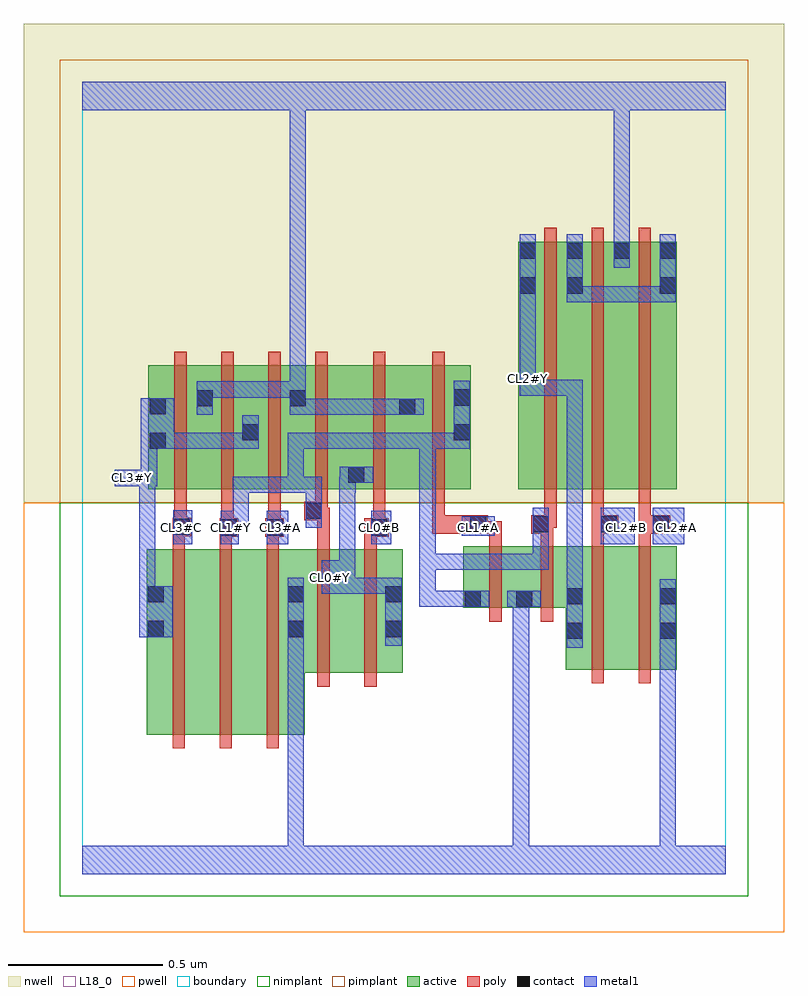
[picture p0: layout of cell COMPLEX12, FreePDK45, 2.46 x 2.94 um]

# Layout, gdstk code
import gdstk
lib = gdstk.Library(unit=1e-6, precision=1e-09)
def R(c, l, rs):  # rectangles x0, y0, x1, y1
    for r in rs: c.add(gdstk.rectangle(r[:2], r[2:], *l))
def A(c, l, x, y, w, h, nx, ny, dx, dy):  # array of equal rectangles
    R(c, l, [(x+i*dx, y+j*dy, x+i*dx+w, y+j*dy+h) for i in range(nx) for j in range(ny)])
active = (1, 0)
pwell = (2, 0)
nwell = (3, 0)
nimplant = (4, 0)
pimplant = (5, 0)
poly = (9, 0)
contact = (10, 0)
metal1 = (11, 0)
L18_0 = (18, 0)
boundary = (235, 0)

complex12 = lib.new_cell('COMPLEX12')
R(complex12, active, [(0.208,0.45,0.388,1.05), (0.388,0.45,0.54,1.05), (0.54,0.45,0.72,1.05), (0.208,0.556,0.268,1.05), (0.66,0.65,0.856,1.05), (0.856,0.65,1.036,1.05), (1.562,0.66,1.742,1.06), (1.562,0.66,1.622,0.928), (1.742,0.66,1.922,1.06), (0.66,0.756,0.72,1.05), (0.976,0.756,1.036,1.05), (1.862,0.756,1.922,1.06), (1.232,0.86,1.292,1.06), (1.232,0.86,1.458,1.06), (1.398,0.86,1.622,1.06), (1.398,0.86,1.458,1.06), (0.214,1.244,0.274,1.644), (0.214,1.244,0.426,1.644), (0.366,1.244,0.426,1.644), (0.366,1.244,0.574,1.644), (0.514,1.244,0.574,1.644), (0.514,1.244,0.726,1.644), (0.666,1.244,0.726,1.644), (0.666,1.244,0.916,1.644), (0.856,1.244,0.916,1.644), (0.856,1.244,1.08,1.644), (1.02,1.244,1.08,1.644), (1.02,1.244,1.256,1.644), (1.196,1.244,1.256,1.644), (1.41,1.244,1.47,2.044), (1.41,1.244,1.622,2.044), (1.562,1.244,1.774,2.044), (1.714,1.244,1.922,2.044), (1.862,1.244,1.922,2.044), (1.562,1.686,1.622,2.044), (1.714,1.686,1.774,2.044)])
R(complex12, pwell, [(-0.188,-0.188,2.268,1.2)])
R(complex12, nwell, [(-0.188,1.2,2.268,2.748)])
R(complex12, nimplant, [(-0.072,-0.072,2.152,1.2)])
R(complex12, pimplant, [(-0.072,1.2,2.152,2.632)])
A(complex12, poly, 0.292, 0.406, 0.04, 0.688, 3, 1, 0.152, 0)
A(complex12, poly, 1.494, 1.12, 0.04, 0.12, 3, 1, 0.152, 0)
A(complex12, poly, 0.298, 1.2, 0.04, 0.488, 4, 1, 0.152, 0)
A(complex12, poly, 1.494, 1.2, 0.04, 0.888, 3, 1, 0.152, 0)
R(complex12, poly, [(0.76,0.606,0.8,1.094), (0.912,0.606,0.952,1.094), (1.646,0.616,1.686,1.104), (1.798,0.616,1.838,1.104), (1.316,0.816,1.356,1.104), (1.482,0.816,1.522,1.104), (0.292,1.054,0.332,1.132), (0.444,1.054,0.484,1.13), (0.596,1.054,0.636,1.13), (0.76,1.054,0.8,1.184), (0.912,1.054,0.952,1.13), (1.316,1.064,1.356,1.14), (1.482,1.064,1.522,1.14), (1.646,1.064,1.686,1.14), (1.798,1.064,1.838,1.14), (0.444,1.09,0.484,1.13), (0.444,1.09,0.484,1.13), (0.444,1.09,0.504,1.15), (0.592,1.09,0.652,1.15), (0.912,1.09,0.99,1.15), (0.292,1.092,0.352,1.152), (1.132,1.1,1.31,1.16), (1.27,1.1,1.31,1.14), (1.27,1.1,1.356,1.14), (1.452,1.1,1.522,1.16), (1.646,1.1,1.686,1.14), (1.646,1.1,1.686,1.14), (1.646,1.1,1.732,1.16), (1.798,1.1,1.838,1.14), (1.798,1.1,1.838,1.14), (1.798,1.1,1.9,1.16), (0.45,1.11,0.49,1.24), (0.602,1.11,0.642,1.15), (0.602,1.11,0.642,1.15), (0.602,1.11,0.642,1.24), (0.94,1.11,0.98,1.15), (0.94,1.11,0.98,1.15), (0.94,1.11,0.98,1.24), (0.298,1.112,0.338,1.152), (0.298,1.112,0.338,1.152), (0.298,1.112,0.338,1.24), (1.132,1.12,1.172,1.24), (1.482,1.12,1.522,1.16), (1.482,1.12,1.534,1.16), (0.718,1.144,0.794,1.204), (0.754,1.144,0.794,1.184), (0.754,1.144,0.8,1.184), (0.754,1.164,0.794,1.24), (0.94,1.2,0.98,1.688), (1.132,1.2,1.172,1.688)])
A(complex12, contact, 1.414, 1.988, 0.052, 0.052, 3, 1, 0.152, 0)
R(complex12, contact, [(1.566,0.76,1.618,0.812), (1.866,0.76,1.918,0.812), (0.212,0.766,0.264,0.818), (0.664,0.766,0.716,0.818), (0.98,0.766,1.032,0.818), (1.236,0.864,1.288,0.916), (1.402,0.864,1.454,0.916), (1.566,0.872,1.618,0.924), (1.866,0.872,1.918,0.924), (0.212,0.878,0.264,0.93), (0.664,0.878,0.716,0.93), (0.98,0.878,1.032,0.93), (0.448,1.094,0.5,1.146), (0.596,1.094,0.648,1.146), (0.934,1.094,0.986,1.146), (0.296,1.096,0.348,1.148), (1.254,1.104,1.306,1.156), (1.456,1.104,1.508,1.156), (1.676,1.104,1.728,1.156), (1.844,1.104,1.896,1.156), (0.722,1.148,0.774,1.2), (0.86,1.264,0.912,1.316), (0.218,1.374,0.27,1.426), (0.518,1.402,0.57,1.454), (1.2,1.402,1.252,1.454), (1.024,1.484,1.076,1.536), (0.218,1.486,0.27,1.538), (0.37,1.512,0.422,1.564), (0.67,1.512,0.722,1.564), (1.2,1.514,1.252,1.566), (1.414,1.876,1.466,1.928), (1.566,1.876,1.618,1.928), (1.866,1.876,1.918,1.928), (1.866,1.988,1.918,2.04)])
R(complex12, metal1, [(0,0,2.08,0.092), (0.664,0.04,0.716,0.092), (0.664,0.04,0.716,0.092), (0.664,0.04,0.716,0.092), (0.664,0.04,0.716,0.092), (0.664,0.04,0.716,0.79), (1.392,0.04,1.444,0.092), (1.392,0.04,1.444,0.092), (1.392,0.04,1.444,0.092), (1.392,0.04,1.444,0.092), (1.392,0.04,1.444,0.092), (1.392,0.04,1.444,0.092), (1.392,0.04,1.444,0.092), (1.392,0.04,1.444,0.092), (1.392,0.04,1.444,0.092), (1.392,0.04,1.444,0.092), (1.392,0.04,1.444,0.092), (1.392,0.04,1.444,0.092), (1.392,0.04,1.444,0.916), (1.866,0.04,1.918,0.092), (1.866,0.04,1.918,0.092), (1.866,0.04,1.918,0.092), (1.866,0.04,1.918,0.092), (1.866,0.04,1.918,0.092), (1.866,0.04,1.918,0.092), (1.866,0.04,1.918,0.092), (1.866,0.04,1.918,0.092), (1.866,0.04,1.918,0.092), (1.866,0.04,1.918,0.092), (1.866,0.04,1.918,0.092), (1.866,0.04,1.918,0.092), (1.866,0.04,1.918,0.784), (1.566,0.732,1.618,0.952), (1.866,0.732,1.918,0.952), (0.664,0.738,0.716,0.79), (0.664,0.738,0.716,0.79), (0.664,0.738,0.716,0.79), (0.664,0.738,0.716,0.79), (0.664,0.738,0.716,0.958), (0.98,0.738,1.032,0.958), (0.184,0.766,0.292,0.93), (1.09,0.864,1.142,1.036), (1.09,0.864,1.316,0.916), (1.374,0.864,1.482,0.916), (1.392,0.864,1.444,0.916), (1.392,0.864,1.444,0.916), (1.392,0.864,1.444,0.916), (1.392,0.864,1.444,0.916), (0.184,0.878,0.236,1.306), (1.566,0.9,1.618,0.952), (1.566,0.9,1.618,0.952), (1.566,0.9,1.618,1.598), (0.774,0.906,0.882,1.014), (0.83,0.906,0.882,0.958), (0.83,0.906,0.882,0.958), (0.83,0.906,1.032,0.958), (0.98,0.906,1.032,0.958), (0.98,0.906,1.032,0.958), (0.83,0.962,0.882,1.284), (1.09,0.984,1.142,1.036), (1.09,0.984,1.142,1.036), (1.09,0.984,1.142,1.036), (1.09,0.984,1.252,1.036), (1.09,0.984,1.142,1.426), (1.2,0.984,1.252,1.036), (1.2,0.984,1.252,1.036), (1.2,0.984,1.252,1.036), (1.2,0.984,1.508,1.036), (1.456,0.984,1.508,1.128), (0.294,1.066,0.356,1.176), (0.448,1.066,0.506,1.174), (0.596,1.066,0.666,1.174), (0.934,1.066,0.998,1.174), (1.676,1.066,1.786,1.184), (1.844,1.066,1.946,1.184), (1.456,1.076,1.508,1.128), (1.456,1.076,1.508,1.184), (1.226,1.094,1.334,1.156), (0.722,1.12,0.774,1.284), (0.454,1.122,0.538,1.174), (0.486,1.122,0.538,1.284), (0.486,1.232,0.664,1.284), (0.612,1.232,0.664,1.284), (0.612,1.232,0.716,1.284), (0.664,1.232,0.716,1.284), (0.664,1.232,0.716,1.284), (0.664,1.232,0.716,1.284), (0.664,1.232,0.774,1.284), (0.664,1.232,0.716,1.426), (0.83,1.232,0.884,1.284), (0.832,1.232,0.884,1.316), (0.106,1.254,0.236,1.306), (0.184,1.254,0.236,1.306), (0.184,1.254,0.242,1.306), (0.19,1.254,0.242,1.426), (0.832,1.264,0.94,1.316), (0.19,1.374,0.298,1.538), (0.246,1.374,0.298,1.426), (0.246,1.374,0.298,1.426), (0.246,1.374,0.408,1.426), (0.356,1.374,0.408,1.426), (0.356,1.374,0.408,1.426), (0.356,1.374,0.408,1.426), (0.356,1.374,0.57,1.426), (0.518,1.374,0.57,1.482), (0.664,1.374,0.716,1.426), (0.664,1.374,0.832,1.426), (0.78,1.374,0.832,1.426), (0.78,1.374,0.832,1.426), (0.78,1.374,0.832,1.426), (0.78,1.374,0.942,1.426), (0.89,1.374,0.942,1.426), (0.89,1.374,1.142,1.426), (1.09,1.374,1.142,1.426), (1.09,1.374,1.142,1.426), (1.09,1.374,1.142,1.426), (1.09,1.374,1.142,1.426), (1.09,1.374,1.142,1.426), (1.09,1.374,1.252,1.426), (1.2,1.374,1.252,1.426), (1.2,1.374,1.252,1.426), (1.2,1.374,1.252,1.594), (0.37,1.484,0.422,1.592), (0.67,1.484,0.722,1.592), (0.67,1.484,0.832,1.536), (0.78,1.484,0.832,1.536), (0.78,1.484,0.922,1.536), (0.87,1.484,0.922,1.536), (0.87,1.484,0.942,1.536), (0.89,1.484,0.942,1.536), (0.89,1.484,1.048,1.536), (0.996,1.484,1.104,1.536), (0.37,1.54,0.422,1.592), (0.37,1.54,0.422,1.592), (0.37,1.54,0.606,1.592), (0.554,1.54,0.606,1.592), (0.554,1.54,0.616,1.592), (0.564,1.54,0.616,1.592), (0.564,1.54,0.722,1.592), (0.67,1.54,0.722,1.592), (0.67,1.54,0.722,1.592), (0.67,1.54,0.722,1.592), (0.67,1.54,0.722,1.592), (0.67,1.54,0.722,1.592), (0.67,1.54,0.722,1.592), (0.67,1.54,0.722,1.592), (0.67,1.54,0.722,1.592), (0.67,1.54,0.722,1.592), (0.67,1.54,0.722,1.592), (0.67,1.54,0.722,1.592), (0.67,1.54,0.722,1.592), (0.67,1.54,0.722,1.592), (0.67,1.54,0.722,1.592), (0.67,1.54,0.722,1.592), (0.67,1.54,0.722,1.592), (0.67,1.54,0.722,2.52), (1.414,1.546,1.466,1.654), (1.414,1.546,1.618,1.598), (1.566,1.546,1.618,1.598), (1.566,1.546,1.618,1.598), (1.566,1.546,1.618,1.598), (1.414,1.602,1.466,1.9), (1.414,1.848,1.466,2.068), (1.566,1.848,1.618,2.068), (1.566,1.848,1.748,1.9), (1.696,1.848,1.748,1.9), (1.696,1.848,1.748,1.9), (1.696,1.848,1.748,1.9), (1.696,1.848,1.918,1.9), (1.866,1.848,1.918,1.9), (1.866,1.848,1.918,1.9), (1.866,1.848,1.918,2.068), (1.718,1.96,1.77,2.068), (1.718,2.016,1.77,2.068), (1.718,2.016,1.77,2.068), (1.718,2.016,1.77,2.52), (0,2.468,2.08,2.56), (1.718,2.468,1.77,2.52), (1.718,2.468,1.77,2.52), (1.718,2.468,1.77,2.52), (1.718,2.468,1.77,2.52), (1.718,2.468,1.77,2.52), (1.718,2.468,1.77,2.52)])
A(complex12, L18_0, 0.294, 1.094, 0.052, 0.052, 3, 1, 0.16, 0)
R(complex12, L18_0, [(0,0,2.08,0.092), (0.664,0.04,0.716,0.092), (0.664,0.04,0.716,0.092), (0.664,0.04,0.716,0.092), (0.664,0.04,0.716,0.092), (0.664,0.04,0.716,0.79), (1.392,0.04,1.444,0.092), (1.392,0.04,1.444,0.092), (1.392,0.04,1.444,0.092), (1.392,0.04,1.444,0.092), (1.392,0.04,1.444,0.092), (1.392,0.04,1.444,0.092), (1.392,0.04,1.444,0.092), (1.392,0.04,1.444,0.092), (1.392,0.04,1.444,0.092), (1.392,0.04,1.444,0.092), (1.392,0.04,1.444,0.092), (1.392,0.04,1.444,0.092), (1.392,0.04,1.444,0.916), (1.866,0.04,1.918,0.092), (1.866,0.04,1.918,0.092), (1.866,0.04,1.918,0.092), (1.866,0.04,1.918,0.092), (1.866,0.04,1.918,0.092), (1.866,0.04,1.918,0.092), (1.866,0.04,1.918,0.092), (1.866,0.04,1.918,0.092), (1.866,0.04,1.918,0.092), (1.866,0.04,1.918,0.092), (1.866,0.04,1.918,0.092), (1.866,0.04,1.918,0.092), (1.866,0.04,1.918,0.784), (1.566,0.732,1.618,0.952), (1.866,0.732,1.918,0.952), (0.664,0.738,0.716,0.79), (0.664,0.738,0.716,0.79), (0.664,0.738,0.716,0.79), (0.664,0.738,0.716,0.79), (0.664,0.738,0.716,0.958), (0.98,0.738,1.032,0.958), (0.184,0.766,0.292,0.93), (1.09,0.864,1.142,1.036), (1.09,0.864,1.316,0.916), (1.374,0.864,1.482,0.916), (1.392,0.864,1.444,0.916), (1.392,0.864,1.444,0.916), (1.392,0.864,1.444,0.916), (1.392,0.864,1.444,0.916), (0.184,0.878,0.236,1.306), (1.566,0.9,1.618,0.952), (1.566,0.9,1.618,0.952), (1.566,0.9,1.618,1.598), (0.774,0.906,0.882,1.014), (0.83,0.906,0.882,0.958), (0.83,0.906,0.882,0.958), (0.83,0.906,1.032,0.958), (0.98,0.906,1.032,0.958), (0.98,0.906,1.032,0.958), (0.774,0.934,0.826,0.986), (0.83,0.962,0.882,1.284), (1.09,0.984,1.142,1.036), (1.09,0.984,1.142,1.036), (1.09,0.984,1.142,1.036), (1.09,0.984,1.252,1.036), (1.09,0.984,1.142,1.426), (1.2,0.984,1.252,1.036), (1.2,0.984,1.252,1.036), (1.2,0.984,1.252,1.036), (1.2,0.984,1.508,1.036), (1.456,0.984,1.508,1.128), (0.294,1.066,0.356,1.176), (0.448,1.066,0.506,1.174), (0.596,1.066,0.666,1.174), (0.934,1.066,0.998,1.174), (1.676,1.066,1.786,1.184), (1.844,1.066,1.946,1.184), (1.456,1.076,1.508,1.128), (1.456,1.076,1.508,1.184), (0.934,1.094,0.986,1.146), (1.226,1.094,1.334,1.156), (1.254,1.094,1.306,1.146), (1.734,1.094,1.786,1.146), (1.894,1.094,1.946,1.146), (0.722,1.12,0.774,1.284), (0.454,1.122,0.538,1.174), (0.486,1.122,0.538,1.284), (0.486,1.232,0.664,1.284), (0.612,1.232,0.664,1.284), (0.612,1.232,0.716,1.284), (0.664,1.232,0.716,1.284), (0.664,1.232,0.716,1.284), (0.664,1.232,0.716,1.284), (0.664,1.232,0.716,1.426), (0.664,1.232,0.774,1.284), (0.83,1.232,0.884,1.284), (0.832,1.232,0.884,1.316), (0.106,1.254,0.236,1.306), (0.134,1.254,0.186,1.306), (0.184,1.254,0.242,1.306), (0.184,1.254,0.236,1.306), (0.19,1.254,0.242,1.426), (0.832,1.264,0.94,1.316), (0.19,1.374,0.298,1.538), (0.246,1.374,0.298,1.426), (0.246,1.374,0.298,1.426), (0.246,1.374,0.408,1.426), (0.356,1.374,0.408,1.426), (0.356,1.374,0.408,1.426), (0.356,1.374,0.408,1.426), (0.356,1.374,0.57,1.426), (0.518,1.374,0.57,1.482), (0.664,1.374,0.716,1.426), (0.664,1.374,0.832,1.426), (0.78,1.374,0.832,1.426), (0.78,1.374,0.832,1.426), (0.78,1.374,0.832,1.426), (0.78,1.374,0.942,1.426), (0.89,1.374,0.942,1.426), (0.89,1.374,1.142,1.426), (1.09,1.374,1.142,1.426), (1.09,1.374,1.142,1.426), (1.09,1.374,1.142,1.426), (1.09,1.374,1.142,1.426), (1.09,1.374,1.142,1.426), (1.09,1.374,1.252,1.426), (1.2,1.374,1.252,1.426), (1.2,1.374,1.252,1.426), (1.2,1.374,1.252,1.594), (0.37,1.484,0.422,1.592), (0.67,1.484,0.832,1.536), (0.67,1.484,0.722,1.592), (0.78,1.484,0.832,1.536), (0.78,1.484,0.922,1.536), (0.87,1.484,0.922,1.536), (0.87,1.484,0.942,1.536), (0.89,1.484,0.942,1.536), (0.89,1.484,1.048,1.536), (0.996,1.484,1.104,1.536), (0.37,1.54,0.422,1.592), (0.37,1.54,0.422,1.592), (0.37,1.54,0.606,1.592), (0.554,1.54,0.606,1.592), (0.554,1.54,0.616,1.592), (0.564,1.54,0.616,1.592), (0.564,1.54,0.722,1.592), (0.67,1.54,0.722,1.592), (0.67,1.54,0.722,1.592), (0.67,1.54,0.722,1.592), (0.67,1.54,0.722,1.592), (0.67,1.54,0.722,1.592), (0.67,1.54,0.722,1.592), (0.67,1.54,0.722,1.592), (0.67,1.54,0.722,1.592), (0.67,1.54,0.722,1.592), (0.67,1.54,0.722,1.592), (0.67,1.54,0.722,1.592), (0.67,1.54,0.722,1.592), (0.67,1.54,0.722,1.592), (0.67,1.54,0.722,1.592), (0.67,1.54,0.722,1.592), (0.67,1.54,0.722,1.592), (0.67,1.54,0.722,2.52), (1.414,1.546,1.466,1.654), (1.414,1.546,1.618,1.598), (1.566,1.546,1.618,1.598), (1.566,1.546,1.618,1.598), (1.566,1.546,1.618,1.598), (1.414,1.574,1.466,1.626), (1.414,1.602,1.466,1.9), (1.414,1.848,1.466,2.068), (1.718,1.96,1.77,2.068), (1.718,2.016,1.77,2.068), (1.718,2.016,1.77,2.068), (1.718,2.016,1.77,2.52), (0,2.468,2.08,2.56), (1.718,2.468,1.77,2.52), (1.718,2.468,1.77,2.52), (1.718,2.468,1.77,2.52), (1.718,2.468,1.77,2.52), (1.718,2.468,1.77,2.52), (1.718,2.468,1.77,2.52)])
R(complex12, boundary, [(0,0,2.08,2.56)])
complex12.add(gdstk.Label('CL0#B', (0.96,1.12), layer=11, texttype=0))
complex12.add(gdstk.Label('CL0#Y', (0.8,0.96), layer=11, texttype=0))
complex12.add(gdstk.Label('CL1#A', (1.28,1.12), layer=11, texttype=0))
complex12.add(gdstk.Label('CL1#Y', (0.48,1.12), layer=11, texttype=0))
complex12.add(gdstk.Label('CL2#A', (1.92,1.12), layer=11, texttype=0))
complex12.add(gdstk.Label('CL2#B', (1.76,1.12), layer=11, texttype=0))
complex12.add(gdstk.Label('CL2#Y', (1.44,1.6), layer=11, texttype=0))
complex12.add(gdstk.Label('CL3#A', (0.64,1.12), layer=11, texttype=0))
complex12.add(gdstk.Label('CL3#C', (0.32,1.12), layer=11, texttype=0))
complex12.add(gdstk.Label('CL3#Y', (0.16,1.28), layer=11, texttype=0))

lib.write_gds('COMPLEX12.gds')
